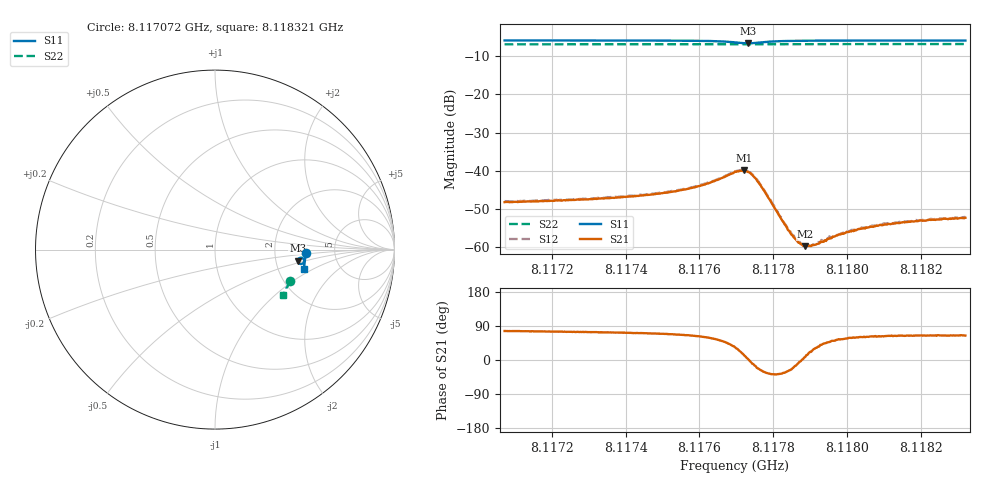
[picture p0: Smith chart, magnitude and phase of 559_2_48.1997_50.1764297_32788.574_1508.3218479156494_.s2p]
#  HZ  S  RI  R  50.00
! Rohde & Schwarz Vector Network Analyzer
! Rohde-Schwarz,ZNB20-2Port,1311601062101988,3.16
! Created: UTC 3/20/2024, 12:01:06 PM
! freq[Hz]  re:S11  im:S11  re:S21  im:S21  re:S12  im:S12  re:S22  im:S22
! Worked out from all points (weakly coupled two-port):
!   401 points, 8.117072 GHz to 8.118321 GHz, reference 50 ohm
!   highest |S21| = -39.90 dB at 8.117722 GHz (marker M1); lowest = -59.7 dB at 8.117887 GHz (marker M2)
!   lowest |S11| = -6.7 dB at 8.117731 GHz (marker M3), VSWR 2.74, Z = 133 - j20.8 ohm
!   |S11| at or under -10 dB: nowhere
!   |S22| runs from -6.9 to -6.8 dB; largest |S21 - S12| = 0.00047
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8.1170722e9  0.5063 -0.0209  0.000907 0.00377  0.000964 0.00388  0.417 -0.1733
8.1172813e9  0.5048 -0.038  0.00118 0.00404  0.00122 0.00409  0.4117 -0.1868
8.117425e9  0.5028 -0.0505  0.00149 0.00439  0.00154 0.00448  0.4077 -0.1962
8.1174905e9  0.5015 -0.0571  0.00176 0.0047  0.00185 0.00478  0.4059 -0.2004
8.1175467e9  0.4995 -0.0631  0.0022 0.00509  0.00221 0.00516  0.4043 -0.2041
8.1175998e9  0.496 -0.0699  0.00291 0.00559  0.00301 0.00566  0.4025 -0.2076
8.1176373e9  0.4913 -0.0754  0.00402 0.00604  0.0041 0.0061  0.4012 -0.21
8.1176966e9  0.4718 -0.079  0.00812 0.00537  0.00816 0.00533  0.3985 -0.2135
8.1177216e9  0.4613 -0.0681  0.00989 0.00213  0.00993 0.00218  0.3975 -0.2144
8.1177309e9  0.4605 -0.0613  0.00963 0.000599  0.00988 0.000553  0.3972 -0.2146
8.1177465e9  0.465 -0.051  0.00831 -0.00161  0.00847 -0.00174  0.3971 -0.2151
8.1177621e9  0.4735 -0.0457  0.00621 -0.0028  0.00637 -0.00286  0.3971 -0.2158
8.1178339e9  0.4954 -0.056  0.00162 -0.00102  0.00168 -0.00101  0.3957 -0.2208
8.1178558e9  0.4972 -0.0598  0.00127 -0.000437  0.00133 -0.000497  0.395 -0.2223
8.1178683e9  0.4978 -0.0619  0.00113 -0.000163  0.00115 -0.000207  0.3948 -0.2232
8.117887e9  0.4984 -0.0646  0.00102 0.000151  0.00106 0.000186  0.3942 -0.2246
8.1179058e9  0.4988 -0.0672  0.000969 0.000445  0.000975 0.000429  0.3936 -0.2257
8.1179744e9  0.499 -0.0755  0.00085 0.00115  0.000874 0.00115  0.3913 -0.2302
8.1180119e9  0.4988 -0.0792  0.000845 0.00137  0.000889 0.00143  0.3902 -0.2326
8.1181149e9  0.4976 -0.0887  0.000892 0.0018  0.000928 0.00183  0.3864 -0.2389
8.1182242e9  0.496 -0.0979  0.000977 0.00206  0.000996 0.0021  0.3827 -0.2455
8.118321e9  0.4944 -0.1054  0.00104 0.00218  0.00104 0.00224  0.3793 -0.2514
